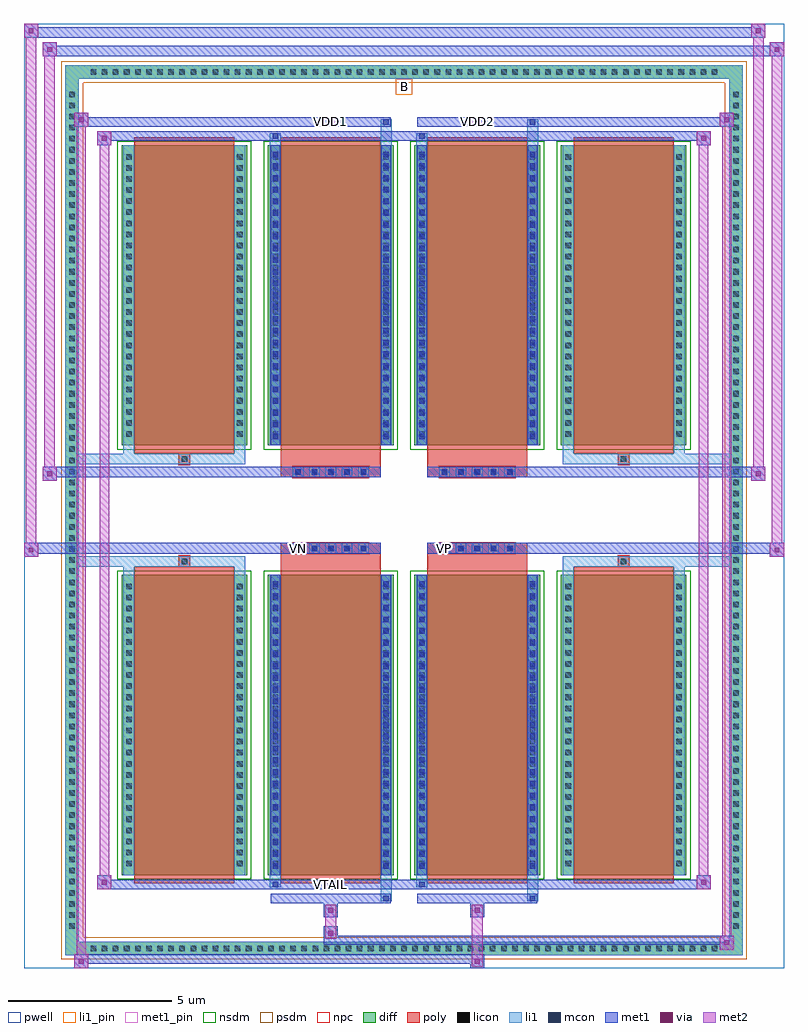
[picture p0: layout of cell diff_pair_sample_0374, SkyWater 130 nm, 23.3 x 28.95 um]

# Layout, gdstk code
import gdstk
lib = gdstk.Library(unit=1e-6, precision=5e-09)
def R(c, l, rs):  # rectangles x0, y0, x1, y1
    for r in rs: c.add(gdstk.rectangle(r[:2], r[2:], *l))
def A(c, l, x, y, w, h, nx, ny, dx, dy):  # array of equal rectangles
    R(c, l, [(x+i*dx, y+j*dy, x+i*dx+w, y+j*dy+h) for i in range(nx) for j in range(ny)])
def P(c, l, *ps):  # polygons
    for p in ps: c.add(gdstk.Polygon(p, *l))
pwell = (64, 44)
diff = (65, 20)
poly = (66, 20)
licon = (66, 44)
li1_pin = (67, 16)
li1 = (67, 20)
mcon = (67, 44)
met1_pin = (68, 16)
met1 = (68, 20)
via = (68, 44)
met2 = (69, 20)
nsdm = (93, 44)
psdm = (94, 20)
npc = (95, 20)

diff_pair_sample_0374 = lib.new_cell('diff_pair_sample_0374')
R(diff_pair_sample_0374, pwell, [(-11.65,-14.04,11.65,14.91), (-8.97,-12.23,-0.01,-0.805), (0.01,-12.23,8.97,-0.805), (-8.97,0.805,-0.01,12.23), (0.01,0.805,8.97,12.23)])
A(diff_pair_sample_0374, diff, -9.725, -13.64, 0.41, 0.41, 57, 2, 0.34, 26.87)
A(diff_pair_sample_0374, diff, -10.38, -12.955, 0.41, 0.41, 1, 76, 0, 0.34)
A(diff_pair_sample_0374, diff, 9.97, -12.955, 0.41, 0.41, 1, 76, 0, 0.34)
A(diff_pair_sample_0374, diff, -8.66, -11.185, 3.85, 9.2, 4, 2, 4.49, 13.17)
R(diff_pair_sample_0374, diff, [(-9.725,-13.64,9.725,-13.23), (-10.38,-12.955,-9.97,12.955), (9.97,-12.955,10.38,12.955), (-9.725,13.23,9.725,13.64)])
P(diff_pair_sample_0374, diff, [(10.38,13.64),(-10.38,13.64),(-10.38,-13.23),(-9.97,-13.23),(-9.97,13.23),(9.97,13.23),(9.97,-13.23),(-9.97,-13.23),(-10.38,-13.23),(-10.38,-13.64),(10.38,-13.64)])
A(diff_pair_sample_0374, poly, -8.27, -11.435, 3.07, 9.7, 4, 2, 4.49, 13.17)
A(diff_pair_sample_0374, poly, -3.41, -1.335, 0.33, 0.33, 5, 2, 0.5, 2.34)
A(diff_pair_sample_0374, poly, 1.08, -1.335, 0.33, 0.33, 5, 2, 0.5, 2.34)
R(diff_pair_sample_0374, poly, [(-6.9,-1.735,-6.57,-1.405), (-6.9,-1.735,-6.57,-1.405), (-3.78,-1.735,-0.71,-1.335), (0.71,-1.735,3.78,-1.335), (6.57,-1.735,6.9,-1.405), (6.57,-1.735,6.9,-1.405), (-3.78,-1.335,-0.71,-1.005), (0.71,-1.335,3.78,-1.005), (-3.78,1.005,-0.71,1.335), (0.71,1.005,3.78,1.335), (-3.78,1.335,-0.71,1.735), (0.71,1.335,3.78,1.735), (-6.9,1.405,-6.57,1.735), (-6.9,1.405,-6.57,1.735), (6.57,1.405,6.9,1.735), (6.57,1.405,6.9,1.735)])
A(diff_pair_sample_0374, licon, -9.605, -13.52, 0.17, 0.17, 57, 2, 0.34, 26.87)
A(diff_pair_sample_0374, licon, -10.26, -12.835, 0.17, 0.17, 1, 76, 0, 0.34)
A(diff_pair_sample_0374, licon, 10.09, -12.835, 0.17, 0.17, 1, 76, 0, 0.34)
A(diff_pair_sample_0374, licon, -8.52, -10.92, 0.17, 0.17, 1, 26, 0, 0.34)
A(diff_pair_sample_0374, licon, -5.12, -10.92, 0.17, 0.17, 1, 26, 0, 0.34)
A(diff_pair_sample_0374, licon, -4.03, -10.92, 0.17, 0.17, 1, 26, 0, 0.34)
A(diff_pair_sample_0374, licon, -0.63, -10.92, 0.17, 0.17, 1, 26, 0, 0.34)
A(diff_pair_sample_0374, licon, 0.46, -10.92, 0.17, 0.17, 1, 26, 0, 0.34)
A(diff_pair_sample_0374, licon, 3.86, -10.92, 0.17, 0.17, 1, 26, 0, 0.34)
A(diff_pair_sample_0374, licon, 4.95, -10.92, 0.17, 0.17, 1, 26, 0, 0.34)
A(diff_pair_sample_0374, licon, 8.35, -10.92, 0.17, 0.17, 1, 26, 0, 0.34)
A(diff_pair_sample_0374, licon, -3.33, -1.255, 0.17, 0.17, 5, 2, 0.5, 2.34)
A(diff_pair_sample_0374, licon, 1.16, -1.255, 0.17, 0.17, 5, 2, 0.5, 2.34)
A(diff_pair_sample_0374, licon, -8.52, 2.25, 0.17, 0.17, 1, 26, 0, 0.34)
A(diff_pair_sample_0374, licon, -5.12, 2.25, 0.17, 0.17, 1, 26, 0, 0.34)
A(diff_pair_sample_0374, licon, -4.03, 2.25, 0.17, 0.17, 1, 26, 0, 0.34)
A(diff_pair_sample_0374, licon, -0.63, 2.25, 0.17, 0.17, 1, 26, 0, 0.34)
A(diff_pair_sample_0374, licon, 0.46, 2.25, 0.17, 0.17, 1, 26, 0, 0.34)
A(diff_pair_sample_0374, licon, 3.86, 2.25, 0.17, 0.17, 1, 26, 0, 0.34)
A(diff_pair_sample_0374, licon, 4.95, 2.25, 0.17, 0.17, 1, 26, 0, 0.34)
A(diff_pair_sample_0374, licon, 8.35, 2.25, 0.17, 0.17, 1, 26, 0, 0.34)
R(diff_pair_sample_0374, licon, [(-6.82,-1.655,-6.65,-1.485), (6.65,-1.655,6.82,-1.485), (-6.82,1.485,-6.65,1.655), (6.65,1.485,6.82,1.655)])
R(diff_pair_sample_0374, li1_pin, [(-0.25,12.73,0.25,13.23)])
A(diff_pair_sample_0374, li1, -9.685, -13.6, 0.33, 0.33, 57, 2, 0.34, 26.87)
A(diff_pair_sample_0374, li1, -10.34, -12.915, 0.33, 0.33, 1, 76, 0, 0.34)
A(diff_pair_sample_0374, li1, 10.01, -12.915, 0.33, 0.33, 1, 76, 0, 0.34)
A(diff_pair_sample_0374, li1, -8.6, -11, 0.33, 0.33, 1, 26, 0, 0.34)
A(diff_pair_sample_0374, li1, -5.2, -11, 0.33, 0.33, 1, 26, 0, 0.34)
A(diff_pair_sample_0374, li1, -4.11, -11, 0.33, 0.33, 1, 26, 0, 0.34)
A(diff_pair_sample_0374, li1, -0.71, -11, 0.33, 0.33, 1, 26, 0, 0.34)
A(diff_pair_sample_0374, li1, 0.38, -11, 0.33, 0.33, 1, 26, 0, 0.34)
A(diff_pair_sample_0374, li1, 3.78, -11, 0.33, 0.33, 1, 26, 0, 0.34)
A(diff_pair_sample_0374, li1, 4.87, -11, 0.33, 0.33, 1, 26, 0, 0.34)
A(diff_pair_sample_0374, li1, 8.27, -11, 0.33, 0.33, 1, 26, 0, 0.34)
A(diff_pair_sample_0374, li1, -4.03, -10.99, 0.17, 0.17, 1, 25, 0, 0.36)
A(diff_pair_sample_0374, li1, -0.63, -10.99, 0.17, 0.17, 1, 25, 0, 0.36)
A(diff_pair_sample_0374, li1, 0.46, -10.99, 0.17, 0.17, 1, 25, 0, 0.36)
A(diff_pair_sample_0374, li1, 3.86, -10.99, 0.17, 0.17, 1, 25, 0, 0.36)
A(diff_pair_sample_0374, li1, -3.41, -1.335, 0.33, 0.33, 5, 2, 0.5, 2.34)
A(diff_pair_sample_0374, li1, 1.08, -1.335, 0.33, 0.33, 5, 2, 0.5, 2.34)
A(diff_pair_sample_0374, li1, -8.6, 2.17, 0.33, 0.33, 1, 26, 0, 0.34)
A(diff_pair_sample_0374, li1, -5.2, 2.17, 0.33, 0.33, 1, 26, 0, 0.34)
A(diff_pair_sample_0374, li1, -4.11, 2.17, 0.33, 0.33, 1, 26, 0, 0.34)
A(diff_pair_sample_0374, li1, -0.71, 2.17, 0.33, 0.33, 1, 26, 0, 0.34)
A(diff_pair_sample_0374, li1, 0.38, 2.17, 0.33, 0.33, 1, 26, 0, 0.34)
A(diff_pair_sample_0374, li1, 3.78, 2.17, 0.33, 0.33, 1, 26, 0, 0.34)
A(diff_pair_sample_0374, li1, 4.87, 2.17, 0.33, 0.33, 1, 26, 0, 0.34)
A(diff_pair_sample_0374, li1, 8.27, 2.17, 0.33, 0.33, 1, 26, 0, 0.34)
A(diff_pair_sample_0374, li1, -4.03, 2.18, 0.17, 0.17, 1, 25, 0, 0.36)
A(diff_pair_sample_0374, li1, -0.63, 2.18, 0.17, 0.17, 1, 25, 0, 0.36)
A(diff_pair_sample_0374, li1, 0.46, 2.18, 0.17, 0.17, 1, 25, 0, 0.36)
A(diff_pair_sample_0374, li1, 3.86, 2.18, 0.17, 0.17, 1, 25, 0, 0.36)
R(diff_pair_sample_0374, li1, [(-10.38,-13.64,-9.97,-13.23), (-10.38,-13.64,-9.97,-13.23), (-9.97,-13.64,9.97,-13.23), (9.97,-13.64,10.38,-13.23), (9.97,-13.64,10.38,-13.23), (-10.38,-13.23,-9.97,13.23), (9.97,-13.23,10.38,13.23), (-0.71,-11.99,-0.38,-11.185), (-0.63,-11.99,-0.46,-11.82), (3.78,-11.99,4.11,-11.185), (3.86,-11.99,4.03,-11.82), (-4.11,-11.56,-3.78,-11.185), (-4.03,-11.56,-3.86,-11.39), (0.38,-11.56,0.71,-11.185), (0.46,-11.56,0.63,-11.39), (-8.6,-11.185,-8.27,-1.985), (-5.2,-11.185,-4.87,-1.985), (-4.11,-11.185,-3.78,-1.985), (-0.71,-11.185,-0.38,-1.985), (0.38,-11.185,0.71,-1.985), (3.78,-11.185,4.11,-1.985), (4.87,-11.185,5.2,-1.985), (8.27,-11.185,8.6,-1.985), (-4.03,-10.99,-3.86,-2.18), (-0.63,-10.99,-0.46,-2.18), (0.46,-10.99,0.63,-2.18), (3.86,-10.99,4.03,-2.18), (-8.6,-1.985,-8.27,-1.405), (-5.2,-1.985,-4.87,-1.405), (4.87,-1.985,5.2,-1.405), (8.27,-1.985,8.6,-1.405), (-10.38,-1.735,-6.9,-1.405), (-8.6,-1.735,-6.9,-1.405), (-6.9,-1.735,-6.57,-1.405), (-6.57,-1.735,-4.87,-1.405), (4.87,-1.735,6.57,-1.405), (6.57,-1.735,6.9,-1.405), (6.57,-1.735,10.38,-1.405), (6.9,-1.735,8.6,-1.405), (-10.38,1.405,-6.9,1.735), (-8.6,1.405,-6.9,1.735), (-8.6,1.405,-8.27,1.985), (-6.9,1.405,-6.57,1.735), (-6.57,1.405,-4.87,1.735), (-5.2,1.405,-4.87,1.985), (4.87,1.405,6.57,1.735), (4.87,1.405,5.2,1.985), (6.57,1.405,6.9,1.735), (6.57,1.405,10.38,1.735), (6.9,1.405,8.6,1.735), (8.27,1.405,8.6,1.985), (-8.6,1.985,-8.27,11.185), (-5.2,1.985,-4.87,11.185), (-4.11,1.985,-3.78,11.185), (-0.71,1.985,-0.38,11.185), (0.38,1.985,0.71,11.185), (3.78,1.985,4.11,11.185), (4.87,1.985,5.2,11.185), (8.27,1.985,8.6,11.185), (-4.03,2.18,-3.86,10.99), (-0.63,2.18,-0.46,10.99), (0.46,2.18,0.63,10.99), (3.86,2.18,4.03,10.99), (-4.11,11.185,-3.78,11.56), (-0.71,11.185,-0.38,11.99), (0.38,11.185,0.71,11.56), (3.78,11.185,4.11,11.99), (-4.03,11.39,-3.86,11.56), (0.46,11.39,0.63,11.56), (-0.63,11.82,-0.46,11.99), (3.86,11.82,4.03,11.99), (-10.38,13.23,-9.97,13.64), (-10.38,13.23,-9.97,13.64), (-9.97,13.23,9.97,13.64), (9.97,13.23,10.38,13.64), (9.97,13.23,10.38,13.64)])
A(diff_pair_sample_0374, mcon, -4.03, -10.99, 0.17, 0.17, 1, 25, 0, 0.36)
A(diff_pair_sample_0374, mcon, -0.63, -10.99, 0.17, 0.17, 1, 25, 0, 0.36)
A(diff_pair_sample_0374, mcon, 0.46, -10.99, 0.17, 0.17, 1, 25, 0, 0.36)
A(diff_pair_sample_0374, mcon, 3.86, -10.99, 0.17, 0.17, 1, 25, 0, 0.36)
A(diff_pair_sample_0374, mcon, -3.33, -1.255, 0.17, 0.17, 5, 2, 0.5, 2.34)
A(diff_pair_sample_0374, mcon, 1.16, -1.255, 0.17, 0.17, 5, 2, 0.5, 2.34)
A(diff_pair_sample_0374, mcon, -4.03, 2.18, 0.17, 0.17, 1, 25, 0, 0.36)
A(diff_pair_sample_0374, mcon, -0.63, 2.18, 0.17, 0.17, 1, 25, 0, 0.36)
A(diff_pair_sample_0374, mcon, 0.46, 2.18, 0.17, 0.17, 1, 25, 0, 0.36)
A(diff_pair_sample_0374, mcon, 3.86, 2.18, 0.17, 0.17, 1, 25, 0, 0.36)
R(diff_pair_sample_0374, mcon, [(-0.63,-11.99,-0.46,-11.82), (3.86,-11.99,4.03,-11.82), (-4.03,-11.56,-3.86,-11.39), (0.46,-11.56,0.63,-11.39), (-4.03,11.39,-3.86,11.56), (0.46,11.39,0.63,11.56), (-0.63,11.82,-0.46,11.99), (3.86,11.82,4.03,11.99)])
R(diff_pair_sample_0374, met1_pin, [(-2.38,-11.6,-2.11,-11.33), (-3.38,-1.295,-3.11,-1.025), (1.11,-1.295,1.38,-1.025), (-2.38,11.78,-2.11,12.05), (2.11,11.78,2.38,12.05)])
A(diff_pair_sample_0374, met1, -4.09, -11.05, 0.29, 0.29, 1, 25, 0, 0.36)
A(diff_pair_sample_0374, met1, -0.69, -11.05, 0.29, 0.29, 1, 25, 0, 0.36)
A(diff_pair_sample_0374, met1, 0.4, -11.05, 0.29, 0.29, 1, 25, 0, 0.36)
A(diff_pair_sample_0374, met1, 3.8, -11.05, 0.29, 0.29, 1, 25, 0, 0.36)
A(diff_pair_sample_0374, met1, -3.39, -1.315, 0.29, 0.29, 5, 2, 0.5, 2.34)
A(diff_pair_sample_0374, met1, 1.1, -1.315, 0.29, 0.29, 5, 2, 0.5, 2.34)
A(diff_pair_sample_0374, met1, -4.09, 2.12, 0.29, 0.29, 1, 25, 0, 0.36)
A(diff_pair_sample_0374, met1, -0.69, 2.12, 0.29, 0.29, 1, 25, 0, 0.36)
A(diff_pair_sample_0374, met1, 0.4, 2.12, 0.29, 0.29, 1, 25, 0, 0.36)
A(diff_pair_sample_0374, met1, 3.8, 2.12, 0.29, 0.29, 1, 25, 0, 0.36)
R(diff_pair_sample_0374, met1, [(-10.11,-14.04,-9.68,-13.61), (2.03,-14.04,2.46,-13.61), (-10.11,-13.9,2.46,-13.61), (9.68,-13.47,10.11,-13.04), (-2.46,-13.33,10.11,-13.04), (-2.46,-13.19,-2.03,-12.76), (-2.46,-12.48,-2.03,-12.05), (2.03,-12.48,2.46,-12.05), (-4.09,-12.05,-0.4,-11.76), (-0.69,-12.05,-0.4,-11.76), (0.4,-12.05,4.09,-11.76), (3.8,-12.05,4.09,-11.76), (-9.4,-11.62,-8.97,-11.19), (-9.4,-11.62,-4.09,-11.33), (-4.09,-11.62,-3.8,-11.33), (-4.09,-11.62,-0.4,-11.33), (-0.4,-11.62,0.4,-11.33), (0.4,-11.62,0.69,-11.33), (0.4,-11.62,4.09,-11.33), (4.09,-11.62,9.4,-11.33), (8.97,-11.62,9.4,-11.19), (-4.09,-11.185,-3.8,-1.985), (-0.69,-11.185,-0.4,-1.985), (0.4,-11.185,0.69,-1.985), (3.8,-11.185,4.09,-1.985), (-11.65,-1.435,-11.22,-1.005), (11.22,-1.435,11.65,-1.005), (-11.65,-1.335,-0.71,-1.005), (-3.78,-1.335,-0.71,-1.005), (0.71,-1.335,3.78,-1.005), (0.71,-1.335,11.65,-1.005), (-11.08,0.905,-10.65,1.335), (10.65,0.905,11.08,1.335), (-11.08,1.005,-3.78,1.335), (-3.78,1.005,-0.71,1.335), (0.71,1.005,3.78,1.335), (3.78,1.005,11.08,1.335), (-4.09,1.985,-3.8,11.185), (-0.69,1.985,-0.4,11.185), (0.4,1.985,0.69,11.185), (3.8,1.985,4.09,11.185), (-9.4,11.19,-8.97,11.62), (8.97,11.19,9.4,11.62), (-9.4,11.33,-4.09,11.62), (-4.09,11.33,-3.8,11.62), (-4.09,11.33,-0.4,11.62), (-0.4,11.33,0.4,11.62), (0.4,11.33,0.69,11.62), (0.4,11.33,4.09,11.62), (4.09,11.33,9.4,11.62), (-10.11,11.76,-9.68,12.19), (-10.11,11.76,-4.09,12.05), (-4.09,11.76,-0.4,12.05), (-0.69,11.76,-0.4,12.05), (0.4,11.76,4.09,12.05), (3.8,11.76,4.09,12.05), (4.09,11.76,10.11,12.05), (9.68,11.76,10.11,12.19), (-11.08,13.91,-10.65,14.34), (-11.08,13.91,-8.97,14.24), (-8.97,13.91,8.97,14.24), (8.97,13.91,11.65,14.24), (11.22,13.91,11.65,14.34), (-11.65,14.48,-11.22,14.91), (-11.65,14.48,-8.97,14.81), (-8.97,14.48,8.97,14.81), (8.97,14.48,11.08,14.81), (10.65,14.48,11.08,14.91)])
R(diff_pair_sample_0374, via, [(-9.97,-13.9,-9.82,-13.75), (2.17,-13.9,2.32,-13.75), (9.82,-13.33,9.97,-13.18), (-2.32,-13.05,-2.17,-12.9), (-2.32,-12.34,-2.17,-12.19), (2.17,-12.34,2.32,-12.19), (-9.26,-11.48,-9.11,-11.33), (9.11,-11.48,9.26,-11.33), (-11.51,-1.295,-11.36,-1.145), (11.36,-1.295,11.51,-1.145), (-10.94,1.045,-10.79,1.195), (10.79,1.045,10.94,1.195), (-9.26,11.33,-9.11,11.48), (9.11,11.33,9.26,11.48), (-9.97,11.9,-9.82,12.05), (9.82,11.9,9.97,12.05), (-10.94,14.05,-10.79,14.2), (11.36,14.05,11.51,14.2), (-11.51,14.62,-11.36,14.77), (10.79,14.62,10.94,14.77)])
R(diff_pair_sample_0374, met2, [(-10.11,-14.04,-9.68,-13.61), (-10.04,-14.04,-9.75,12.19), (-9.75,-14.04,-9.68,-13.61), (-10.06,-13.99,-9.73,-13.66), (2.08,-13.99,2.41,-13.66), (2.08,-13.66,2.41,-12.43), (9.68,-13.47,10.11,-13.04), (9.75,-13.47,10.04,12.19), (10.04,-13.47,10.11,-13.04), (9.73,-13.42,10.06,-13.09), (-2.41,-13.14,-2.08,-12.81), (-2.41,-12.81,-2.08,-12.43), (-2.41,-12.43,-2.08,-12.1), (2.08,-12.43,2.41,-12.1), (-9.4,-11.62,-8.97,-11.19), (-9.33,-11.62,-9.04,11.62), (-9.04,-11.62,-8.97,-11.19), (8.97,-11.62,9.4,-11.19), (9.04,-11.62,9.33,11.62), (9.33,-11.62,9.4,-11.19), (-9.35,-11.57,-9.02,-11.24), (9.02,-11.57,9.35,-11.24), (-11.65,-1.435,-11.22,-1.005), (-11.6,-1.435,-11.27,14.91), (-11.27,-1.435,-11.22,-1.005), (11.22,-1.435,11.65,-1.005), (11.27,-1.435,11.6,14.34), (11.6,-1.435,11.65,-1.005), (-11.6,-1.385,-11.27,-1.055), (11.27,-1.385,11.6,-1.055), (-11.08,0.905,-10.65,1.335), (-11.03,0.905,-10.7,14.34), (-10.7,0.905,-10.65,1.335), (10.65,0.905,11.08,1.335), (10.7,0.905,11.03,14.91), (11.03,0.905,11.08,1.335), (-11.03,0.955,-10.7,1.285), (10.7,0.955,11.03,1.285), (-9.4,11.19,-8.97,11.62), (-9.04,11.19,-8.97,11.62), (8.97,11.19,9.4,11.62), (9.33,11.19,9.4,11.62), (-9.35,11.24,-9.02,11.57), (9.02,11.24,9.35,11.57), (-10.11,11.76,-9.68,12.19), (-9.75,11.76,-9.68,12.19), (9.68,11.76,10.11,12.19), (10.04,11.76,10.11,12.19), (-10.06,11.81,-9.73,12.14), (9.73,11.81,10.06,12.14), (-11.08,13.91,-10.65,14.34), (-10.7,13.91,-10.65,14.34), (11.22,13.91,11.65,14.34), (11.6,13.91,11.65,14.34), (-11.03,13.96,-10.7,14.29), (11.27,13.96,11.6,14.29), (-11.65,14.48,-11.22,14.91), (-11.27,14.48,-11.22,14.91), (10.65,14.48,11.08,14.91), (11.03,14.48,11.08,14.91), (-11.6,14.53,-11.27,14.86), (10.7,14.53,11.03,14.86)])
A(diff_pair_sample_0374, nsdm, -8.79, -11.315, 4.11, 9.46, 4, 2, 4.49, 13.17)
P(diff_pair_sample_0374, psdm, [(10.51,13.77),(-10.51,13.77),(-10.51,-13.1),(-9.84,-13.1),(-9.84,13.1),(9.84,13.1),(9.84,-13.1),(-9.84,-13.1),(-10.51,-13.1),(-10.51,-13.77),(10.51,-13.77)])
A(diff_pair_sample_0374, npc, -3.43, -1.355, 0.37, 0.37, 5, 2, 0.5, 2.34)
A(diff_pair_sample_0374, npc, 1.06, -1.355, 0.37, 0.37, 5, 2, 0.5, 2.34)
R(diff_pair_sample_0374, npc, [(-6.92,-1.755,-6.55,-1.385), (6.55,-1.755,6.92,-1.385), (-3.43,-1.355,-2.56,-0.985), (-3.43,-1.355,-2.56,-0.985), (-2.93,-1.355,-2.06,-0.985), (-2.93,-1.355,-2.06,-0.985), (-2.43,-1.355,-1.56,-0.985), (-2.43,-1.355,-1.56,-0.985), (-1.93,-1.355,-1.06,-0.985), (-1.93,-1.355,-1.06,-0.985), (1.06,-1.355,1.93,-0.985), (1.06,-1.355,1.93,-0.985), (1.56,-1.355,2.43,-0.985), (1.56,-1.355,2.43,-0.985), (2.06,-1.355,2.93,-0.985), (2.06,-1.355,2.93,-0.985), (2.56,-1.355,3.43,-0.985), (2.56,-1.355,3.43,-0.985), (-3.43,0.985,-2.56,1.355), (-3.43,0.985,-2.56,1.355), (-2.93,0.985,-2.06,1.355), (-2.93,0.985,-2.06,1.355), (-2.43,0.985,-1.56,1.355), (-2.43,0.985,-1.56,1.355), (-1.93,0.985,-1.06,1.355), (-1.93,0.985,-1.06,1.355), (1.06,0.985,1.93,1.355), (1.06,0.985,1.93,1.355), (1.56,0.985,2.43,1.355), (1.56,0.985,2.43,1.355), (2.06,0.985,2.93,1.355), (2.06,0.985,2.93,1.355), (2.56,0.985,3.43,1.355), (2.56,0.985,3.43,1.355), (-6.92,1.385,-6.55,1.755), (6.55,1.385,6.92,1.755)])
diff_pair_sample_0374.add(gdstk.Label('VTAIL', (-2.245,-11.465), layer=68, texttype=5))
diff_pair_sample_0374.add(gdstk.Label('VN', (-3.245,-1.16), layer=68, texttype=5))
diff_pair_sample_0374.add(gdstk.Label('VP', (1.245,-1.16), layer=68, texttype=5))
diff_pair_sample_0374.add(gdstk.Label('B', (0,12.98), layer=67, texttype=5))
diff_pair_sample_0374.add(gdstk.Label('VDD2', (2.245,11.915), layer=68, texttype=5))
diff_pair_sample_0374.add(gdstk.Label('VDD1', (-2.245,11.915), layer=68, texttype=5))

lib.write_gds('diff_pair_sample_0374.gds')
